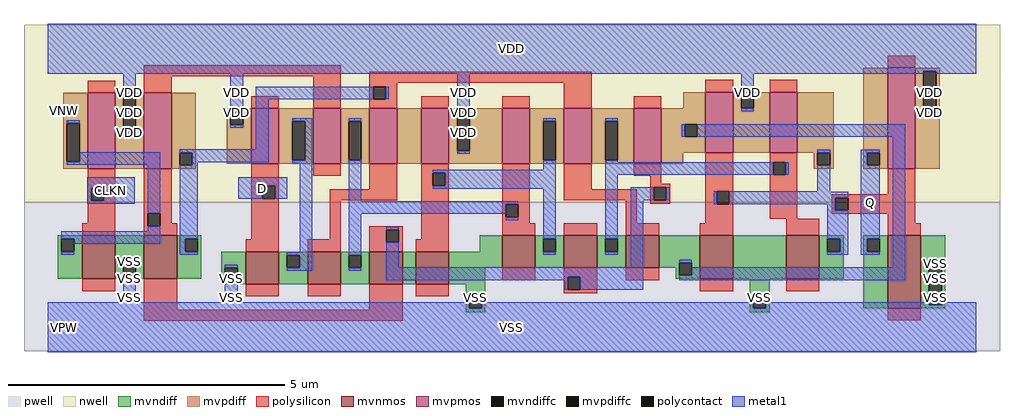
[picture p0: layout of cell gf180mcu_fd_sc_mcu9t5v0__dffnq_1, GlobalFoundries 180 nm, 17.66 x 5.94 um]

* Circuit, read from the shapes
.subckt gf180mcu_fd_sc_mcu9t5v0__dffnq_1 D CLKN Q VDD VNW VPW VSS
XM1 VSS CLKN n1 VPW nfet_06v0 w=0.79u l=0.6u
XM2 n2 n1 VSS VPW nfet_06v0 w=0.79u l=0.6u
XM3 n3 D VSS VPW nfet_06v0 w=0.59u l=0.6u
XM4 n4 n2 n3 VPW nfet_06v0 w=0.59u l=0.6u
XM5 n5 n1 n4 VPW nfet_06v0 w=0.59u l=0.6u
XM6 VSS n6 n5 VPW nfet_06v0 w=0.59u l=0.6u
XM7 n6 n4 VSS VPW nfet_06v0 w=0.59u l=0.6u
XM8 n7 n1 n6 VPW nfet_06v0 w=0.59u l=0.6u
XM9 n8 n2 n7 VPW nfet_06v0 w=0.59u l=0.6u
XM10 VSS n9 n8 VPW nfet_06v0 w=0.79u l=0.6u
XM11 n9 n7 VSS VPW nfet_06v0 w=0.79u l=0.6u
XM12 VSS n9 Q VPW nfet_06v0 w=1.32u l=0.6u
XM13 VDD CLKN n1 VNW pfet_06v0 w=1.38u l=0.5u
XM14 n2 n1 VDD VNW pfet_06v0 w=1.38u l=0.5u
XM15 n3 D VDD VNW pfet_06v0 w=1u l=0.5u
XM16 n4 n1 n3 VNW pfet_06v0 w=1u l=0.5u
XM17 n10 n2 n4 VNW pfet_06v0 w=1u l=0.5u
XM18 VDD n6 n10 VNW pfet_06v0 w=1u l=0.5u
XM19 n6 n4 VDD VNW pfet_06v0 w=1u l=0.5u
XM20 n7 n2 n6 VNW pfet_06v0 w=1u l=0.5u
XM21 n8 n1 n7 VNW pfet_06v0 w=1u l=0.5u
XM22 VDD n9 n8 VNW pfet_06v0 w=1.1u l=0.5u
XM23 n9 n7 VDD VNW pfet_06v0 w=1.1u l=0.5u
XM24 VDD n9 Q VNW pfet_06v0 w=1.83u l=0.5u
.ends

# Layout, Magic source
magic
tech gf180mcuD
magscale 1 10
<< nwell >>
rect -86 453 3446 1094
<< pwell >>
rect -86 -86 3446 453
<< mvnmos >>
rect 124 175 244 333
rect 348 175 468 333
rect 716 156 836 274
rect 940 156 1060 274
rect 1164 156 1284 274
rect 1332 156 1452 274
rect 1644 215 1764 333
rect 1868 215 1988 333
rect 2092 215 2212 333
rect 2360 175 2480 333
rect 2672 175 2792 333
rect 3040 69 3160 333
<< mvpmos >>
rect 144 573 244 849
rect 348 573 448 849
rect 736 592 836 792
rect 960 592 1060 792
rect 1164 592 1264 792
rect 1352 592 1452 792
rect 1644 592 1744 792
rect 1868 592 1968 792
rect 2120 592 2220 792
rect 2380 631 2480 851
rect 2612 631 2712 851
rect 3040 573 3140 939
<< mvndiff >>
rect 36 320 124 333
rect 36 274 49 320
rect 95 274 124 320
rect 36 175 124 274
rect 244 234 348 333
rect 244 188 273 234
rect 319 188 348 234
rect 244 175 348 188
rect 468 320 556 333
rect 468 274 497 320
rect 543 274 556 320
rect 1564 274 1644 333
rect 468 175 556 274
rect 628 215 716 274
rect 628 169 641 215
rect 687 169 716 215
rect 628 156 716 169
rect 836 261 940 274
rect 836 215 865 261
rect 911 215 940 261
rect 836 156 940 215
rect 1060 261 1164 274
rect 1060 215 1089 261
rect 1135 215 1164 261
rect 1060 156 1164 215
rect 1284 156 1332 274
rect 1452 215 1644 274
rect 1764 320 1868 333
rect 1764 274 1793 320
rect 1839 274 1868 320
rect 1764 215 1868 274
rect 1988 320 2092 333
rect 1988 274 2017 320
rect 2063 274 2092 320
rect 1988 215 2092 274
rect 2212 234 2360 333
rect 2212 215 2285 234
rect 1452 156 1584 215
rect 1512 114 1584 156
rect 2272 188 2285 215
rect 2331 188 2360 234
rect 2272 175 2360 188
rect 2480 175 2672 333
rect 2792 320 2880 333
rect 2792 274 2821 320
rect 2867 274 2880 320
rect 2792 175 2880 274
rect 2952 320 3040 333
rect 2952 274 2965 320
rect 3011 274 3040 320
rect 1512 68 1525 114
rect 1571 68 1584 114
rect 1512 55 1584 68
rect 2540 114 2612 175
rect 2540 68 2553 114
rect 2599 68 2612 114
rect 2952 69 3040 274
rect 3160 222 3248 333
rect 3160 82 3189 222
rect 3235 82 3248 222
rect 3160 69 3248 82
rect 2540 55 2612 68
<< mvpdiff >>
rect 56 739 144 849
rect 56 599 69 739
rect 115 599 144 739
rect 56 573 144 599
rect 244 836 348 849
rect 244 696 273 836
rect 319 696 348 836
rect 244 573 348 696
rect 448 632 536 849
rect 2300 792 2380 851
rect 448 586 477 632
rect 523 586 536 632
rect 648 779 736 792
rect 648 733 661 779
rect 707 733 736 779
rect 648 592 736 733
rect 836 745 960 792
rect 836 605 885 745
rect 931 605 960 745
rect 836 592 960 605
rect 1060 745 1164 792
rect 1060 605 1089 745
rect 1135 605 1164 745
rect 1060 592 1164 605
rect 1264 592 1352 792
rect 1452 779 1644 792
rect 1452 639 1481 779
rect 1527 639 1644 779
rect 1452 592 1644 639
rect 1744 745 1868 792
rect 1744 605 1793 745
rect 1839 605 1868 745
rect 1744 592 1868 605
rect 1968 745 2120 792
rect 1968 605 2017 745
rect 2063 605 2120 745
rect 1968 592 2120 605
rect 2220 735 2380 792
rect 2220 689 2305 735
rect 2351 689 2380 735
rect 2220 631 2380 689
rect 2480 838 2612 851
rect 2480 792 2509 838
rect 2555 792 2612 838
rect 2480 631 2612 792
rect 2712 632 2844 851
rect 2712 631 2785 632
rect 2220 592 2300 631
rect 448 573 536 586
rect 2772 586 2785 631
rect 2831 586 2844 632
rect 2772 573 2844 586
rect 2952 632 3040 939
rect 2952 586 2965 632
rect 3011 586 3040 632
rect 2952 573 3040 586
rect 3140 926 3228 939
rect 3140 786 3169 926
rect 3215 786 3228 926
rect 3140 573 3228 786
<< mvndiffc >>
rect 49 274 95 320
rect 273 188 319 234
rect 497 274 543 320
rect 641 169 687 215
rect 865 215 911 261
rect 1089 215 1135 261
rect 1793 274 1839 320
rect 2017 274 2063 320
rect 2285 188 2331 234
rect 2821 274 2867 320
rect 2965 274 3011 320
rect 1525 68 1571 114
rect 2553 68 2599 114
rect 3189 82 3235 222
<< mvpdiffc >>
rect 69 599 115 739
rect 273 696 319 836
rect 477 586 523 632
rect 661 733 707 779
rect 885 605 931 745
rect 1089 605 1135 745
rect 1481 639 1527 779
rect 1793 605 1839 745
rect 2017 605 2063 745
rect 2305 689 2351 735
rect 2509 792 2555 838
rect 2785 586 2831 632
rect 2965 586 3011 632
rect 3169 786 3215 926
<< polysilicon >>
rect 348 909 1060 949
rect 3040 939 3140 983
rect 144 849 244 893
rect 348 849 448 909
rect 736 792 836 836
rect 960 792 1060 909
rect 1164 884 1968 924
rect 1164 871 1264 884
rect 1164 825 1177 871
rect 1223 825 1264 871
rect 1164 792 1264 825
rect 1352 792 1452 836
rect 1644 792 1744 836
rect 1868 792 1968 884
rect 2380 851 2480 895
rect 2612 851 2712 895
rect 2120 792 2220 836
rect 144 504 244 573
rect 144 458 157 504
rect 203 458 244 504
rect 144 377 244 458
rect 124 333 244 377
rect 348 412 448 573
rect 348 366 361 412
rect 407 377 448 412
rect 736 512 836 592
rect 960 548 1060 592
rect 736 466 777 512
rect 823 466 836 512
rect 1164 500 1264 592
rect 407 366 468 377
rect 348 333 468 366
rect 736 318 836 466
rect 1020 460 1264 500
rect 1352 559 1452 592
rect 1352 513 1393 559
rect 1439 513 1452 559
rect 1020 318 1060 460
rect 716 274 836 318
rect 940 274 1060 318
rect 1164 353 1284 366
rect 1164 307 1225 353
rect 1271 307 1284 353
rect 1352 318 1452 513
rect 1644 445 1744 592
rect 1868 500 1968 592
rect 2120 548 2220 592
rect 2180 519 2220 548
rect 2180 506 2252 519
rect 1868 460 2132 500
rect 1644 399 1657 445
rect 1703 399 1744 445
rect 1644 377 1744 399
rect 2092 377 2132 460
rect 2180 460 2193 506
rect 2239 460 2252 506
rect 2180 447 2252 460
rect 2380 492 2480 631
rect 2380 446 2421 492
rect 2467 446 2480 492
rect 2380 377 2480 446
rect 2612 598 2712 631
rect 2612 552 2625 598
rect 2671 552 2712 598
rect 2612 393 2712 552
rect 3040 482 3140 573
rect 2837 469 3140 482
rect 2837 423 2850 469
rect 2896 423 3140 469
rect 2837 410 3140 423
rect 1644 333 1764 377
rect 1868 333 1988 377
rect 2092 333 2212 377
rect 2360 333 2480 377
rect 2672 333 2792 393
rect 3040 377 3140 410
rect 3040 333 3160 377
rect 1164 274 1284 307
rect 1332 274 1452 318
rect 124 131 244 175
rect 348 64 468 175
rect 1644 171 1764 215
rect 1868 182 1988 215
rect 716 112 836 156
rect 940 112 1060 156
rect 1164 64 1284 156
rect 1332 112 1452 156
rect 1868 136 1881 182
rect 1927 136 1988 182
rect 2092 171 2212 215
rect 1868 123 1988 136
rect 2360 131 2480 175
rect 348 24 1284 64
rect 2672 131 2792 175
rect 3040 25 3160 69
<< polycontact >>
rect 1177 825 1223 871
rect 157 458 203 504
rect 361 366 407 412
rect 777 466 823 512
rect 1393 513 1439 559
rect 1225 307 1271 353
rect 1657 399 1703 445
rect 2193 460 2239 506
rect 2421 446 2467 492
rect 2625 552 2671 598
rect 2850 423 2896 469
rect 1881 136 1927 182
<< metal1 >>
rect 0 926 3360 1098
rect 0 918 3169 926
rect 273 836 319 918
rect 69 739 115 750
rect 661 779 707 918
rect 661 722 707 733
rect 753 825 1177 871
rect 1223 825 1234 871
rect 273 685 319 696
rect 753 644 799 825
rect 1481 779 1527 918
rect 2509 838 2555 918
rect 2509 781 2555 792
rect 3215 918 3360 926
rect 115 599 407 634
rect 69 588 407 599
rect 142 504 314 542
rect 142 458 157 504
rect 203 458 314 504
rect 142 447 314 458
rect 361 412 407 588
rect 361 348 407 366
rect 49 320 407 348
rect 95 302 407 320
rect 477 632 799 644
rect 523 598 799 632
rect 885 745 958 756
rect 931 605 958 745
rect 523 586 543 598
rect 885 594 958 605
rect 477 320 543 586
rect 690 512 866 542
rect 690 466 777 512
rect 823 466 866 512
rect 49 263 95 274
rect 477 274 497 320
rect 477 263 543 274
rect 912 272 958 594
rect 865 261 958 272
rect 273 234 319 245
rect 273 90 319 188
rect 641 215 687 226
rect 911 215 958 261
rect 865 204 958 215
rect 1089 745 1135 756
rect 3169 775 3215 786
rect 1481 628 1527 639
rect 1793 745 1839 756
rect 1089 456 1135 605
rect 1793 570 1839 605
rect 1393 559 1839 570
rect 1439 513 1839 559
rect 1393 502 1839 513
rect 1089 445 1703 456
rect 1089 410 1657 445
rect 1089 261 1135 410
rect 1657 388 1703 399
rect 1089 204 1135 215
rect 1225 353 1271 364
rect 1225 217 1271 307
rect 1793 320 1839 502
rect 1793 263 1839 274
rect 2017 745 2063 756
rect 2294 689 2305 735
rect 2351 689 3103 735
rect 2017 598 2063 605
rect 2785 632 2831 643
rect 2017 552 2625 598
rect 2671 552 2682 598
rect 2017 320 2063 552
rect 2017 263 2063 274
rect 2109 460 2193 506
rect 2239 460 2250 506
rect 2785 492 2831 586
rect 2109 217 2155 460
rect 2410 446 2421 492
rect 2467 491 2831 492
rect 2942 632 3011 643
rect 2942 586 2965 632
rect 2467 469 2896 491
rect 2467 446 2850 469
rect 2821 423 2850 446
rect 2821 320 2896 423
rect 2867 274 2896 320
rect 2821 263 2896 274
rect 2942 320 3011 586
rect 2942 274 2965 320
rect 2942 263 3011 274
rect 1225 182 2155 217
rect 1225 171 1881 182
rect 641 90 687 169
rect 1870 136 1881 171
rect 1927 136 2155 182
rect 2285 234 2331 245
rect 3057 217 3103 689
rect 2331 188 3103 217
rect 2285 171 3103 188
rect 3189 222 3235 233
rect 1525 114 1571 125
rect 0 68 1525 90
rect 2553 114 2599 125
rect 1571 68 2553 90
rect 2599 82 3189 90
rect 3235 82 3360 90
rect 2599 68 3360 82
rect 0 -90 3360 68
<< labels >>
flabel metal1 s 142 447 314 542 0 FreeSans 200 0 0 0 CLKN
port 2 nsew clock input
flabel metal1 s 690 466 866 542 0 FreeSans 200 0 0 0 D
port 1 nsew default input
flabel metal1 s 2942 263 3011 643 0 FreeSans 200 0 0 0 Q
port 3 nsew default output
flabel metal1 s 0 918 3360 1098 0 FreeSans 200 0 0 0 VDD
port 4 nsew power bidirectional abutment
flabel metal1 s 273 233 319 245 0 FreeSans 200 0 0 0 VSS
port 7 nsew ground bidirectional abutment
flabel nwell s 10 734 110 834 0 FreeSans 400 0 0 0 VNW
port 5 nsew power bidirectional
flabel pwell s 10 -50 110 50 0 FreeSans 400 0 0 0 VPW
port 6 nsew ground bidirectional
rlabel metal1 s 3169 781 3215 918 1 VDD
port 4 nsew power bidirectional abutment
rlabel metal1 s 2509 781 2555 918 1 VDD
port 4 nsew power bidirectional abutment
rlabel metal1 s 1481 781 1527 918 1 VDD
port 4 nsew power bidirectional abutment
rlabel metal1 s 661 781 707 918 1 VDD
port 4 nsew power bidirectional abutment
rlabel metal1 s 273 781 319 918 1 VDD
port 4 nsew power bidirectional abutment
rlabel metal1 s 3169 775 3215 781 1 VDD
port 4 nsew power bidirectional abutment
rlabel metal1 s 1481 775 1527 781 1 VDD
port 4 nsew power bidirectional abutment
rlabel metal1 s 661 775 707 781 1 VDD
port 4 nsew power bidirectional abutment
rlabel metal1 s 273 775 319 781 1 VDD
port 4 nsew power bidirectional abutment
rlabel metal1 s 1481 722 1527 775 1 VDD
port 4 nsew power bidirectional abutment
rlabel metal1 s 661 722 707 775 1 VDD
port 4 nsew power bidirectional abutment
rlabel metal1 s 273 722 319 775 1 VDD
port 4 nsew power bidirectional abutment
rlabel metal1 s 1481 685 1527 722 1 VDD
port 4 nsew power bidirectional abutment
rlabel metal1 s 273 685 319 722 1 VDD
port 4 nsew power bidirectional abutment
rlabel metal1 s 1481 628 1527 685 1 VDD
port 4 nsew power bidirectional abutment
rlabel metal1 s 3189 226 3235 233 1 VSS
port 7 nsew ground bidirectional abutment
rlabel metal1 s 273 226 319 233 1 VSS
port 7 nsew ground bidirectional abutment
rlabel metal1 s 3189 125 3235 226 1 VSS
port 7 nsew ground bidirectional abutment
rlabel metal1 s 641 125 687 226 1 VSS
port 7 nsew ground bidirectional abutment
rlabel metal1 s 273 125 319 226 1 VSS
port 7 nsew ground bidirectional abutment
rlabel metal1 s 3189 90 3235 125 1 VSS
port 7 nsew ground bidirectional abutment
rlabel metal1 s 2553 90 2599 125 1 VSS
port 7 nsew ground bidirectional abutment
rlabel metal1 s 1525 90 1571 125 1 VSS
port 7 nsew ground bidirectional abutment
rlabel metal1 s 641 90 687 125 1 VSS
port 7 nsew ground bidirectional abutment
rlabel metal1 s 273 90 319 125 1 VSS
port 7 nsew ground bidirectional abutment
rlabel metal1 s 0 -90 3360 90 1 VSS
port 7 nsew ground bidirectional abutment
<< properties >>
string FIXED_BBOX 0 0 3360 1008
string GDS_END 1493244
string GDS_FILE $PDKPATH/libs.ref/gf180mcu_fd_sc_mcu9t5v0/gds/gf180mcu_fd_sc_mcu9t5v0.gds
string GDS_START 1485622
string LEFclass core
string LEFsite GF018hv5v_green_sc9
string LEFsymmetry X Y
<< end >>
